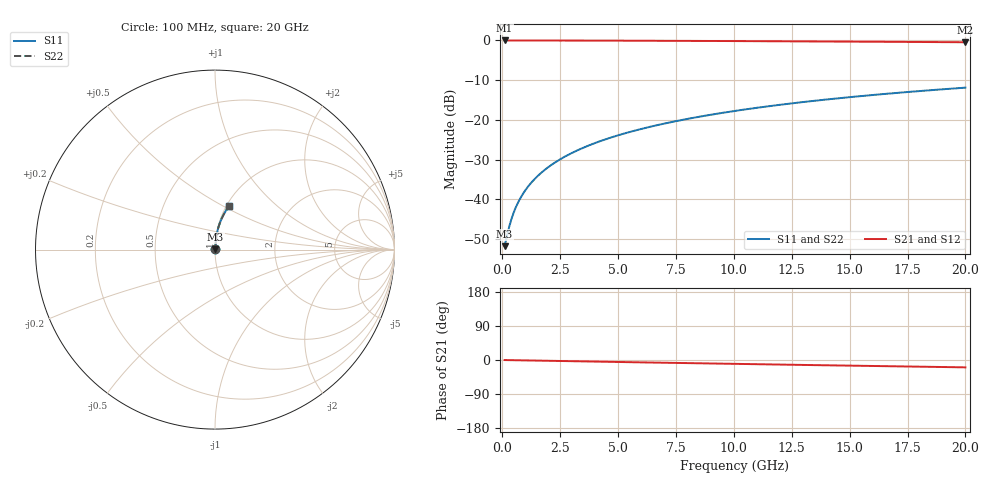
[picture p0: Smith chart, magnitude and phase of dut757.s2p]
! Touchstone file exported from HFSS 2024.1.0
!  File:  C:/UserFiles/LocalFiles/RDL_TSV_Batchsim/temp_RDL_bottom_757_1779860007.aedt
!  Generated:  01:36:22 PM May 27, 2026
!  Design:  RDL_bottom
!  Project:  temp_RDL_bottom_757_1779860007
!  Setup:  Setup1
!  Solution:  Sweep
! Variables:
!  dtsv = 10.80580581um
!  hbump = 3um
!  htsv = 57.77um
!  ldown = 205.14um
!  lrdl = 100um
!  p = 40
!  p1 = 48.22um
!  rhole = 1um
!  t = 450um
!  tdown = 2.83um
!  trdl = 3.915915916um
!  wdown = 12.73um
!  wrdl = 20um
# GHz S MA R 50.000000
! Terminal data exported
! Port[1] = RDL1_T1
! Port[2] = RDL1_T2
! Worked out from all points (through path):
!   200 points, 100 MHz to 20 GHz, reference 50 ohm
!   highest |S21| = -0.02 dB at 100 MHz (marker M1); lowest = -0.5 dB at 20 GHz (marker M2)
!   group delay of S21, straight-line fit = 2.69 ps
!   lowest |S11| = -51.8 dB at 100 MHz (marker M3), VSWR 1.01, Z = 50.2 + j0.132 ohm
!   |S11| at or under -10 dB: start of sweep to end of sweep
!   |S22| runs from -51.8 to -11.9 dB; largest |S21 - S12| = 2.6e-15
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0.1  0.00258 30.7  0.9978 -0.1  0.9978 -0.1  0.00258 30.7
! Gamma 0 0 0 0
! Port Impedance 50 0 50 0
0.3  0.004546 59.9  0.9977 -0.3  0.9977 -0.3  0.004546 59.9
0.4  0.005717 66.0  0.9977 -0.4  0.9977 -0.4  0.005717 66.0
0.5  0.006922 69.9  0.9976 -0.5  0.9976 -0.5  0.006922 69.9
0.6  0.008143 72.7  0.9975 -0.6  0.9975 -0.6  0.008143 72.7
0.8  0.01061 76.3  0.9974 -0.9  0.9974 -0.9  0.01061 76.3
1.1  0.01433 79.3  0.9972 -1.2  0.9972 -1.2  0.01433 79.3
1.3  0.01682 80.6  0.9971 -1.4  0.9971 -1.4  0.01682 80.6
1.5  0.01933 81.5  0.997 -1.6  0.997 -1.6  0.01933 81.5
1.8  0.0231 82.5  0.9967 -1.9  0.9967 -1.9  0.0231 82.5
2.1  0.02688 83.2  0.9965 -2.2  0.9965 -2.2  0.02688 83.2
2.7  0.03448 84.0  0.9958 -2.9  0.9958 -2.9  0.03448 84.0
3.5  0.04468 84.4  0.9948 -3.7  0.9948 -3.7  0.04468 84.4
4.2  0.05365 84.4  0.9937 -4.4  0.9937 -4.4  0.05365 84.4
5  0.06396 84.2  0.9923 -5.2  0.9923 -5.2  0.06396 84.2
5.9  0.07561 83.9  0.9905 -6.1  0.9905 -6.1  0.07561 83.9
6.8  0.08731 83.4  0.9885 -7.0  0.9885 -7.0  0.08731 83.4
8.3  0.1069 82.4  0.9849 -8.5  0.9849 -8.5  0.1069 82.4
10.1  0.1303 81.0  0.98 -10.3  0.98 -10.3  0.1303 81.0
13.4  0.1729 78.1  0.9702 -13.4  0.9702 -13.4  0.1729 78.1
16.7  0.2143 75.1  0.9592 -16.5  0.9592 -16.5  0.2143 75.1
20  0.2544 72.1  0.9473 -19.4  0.9473 -19.4  0.2544 72.1
